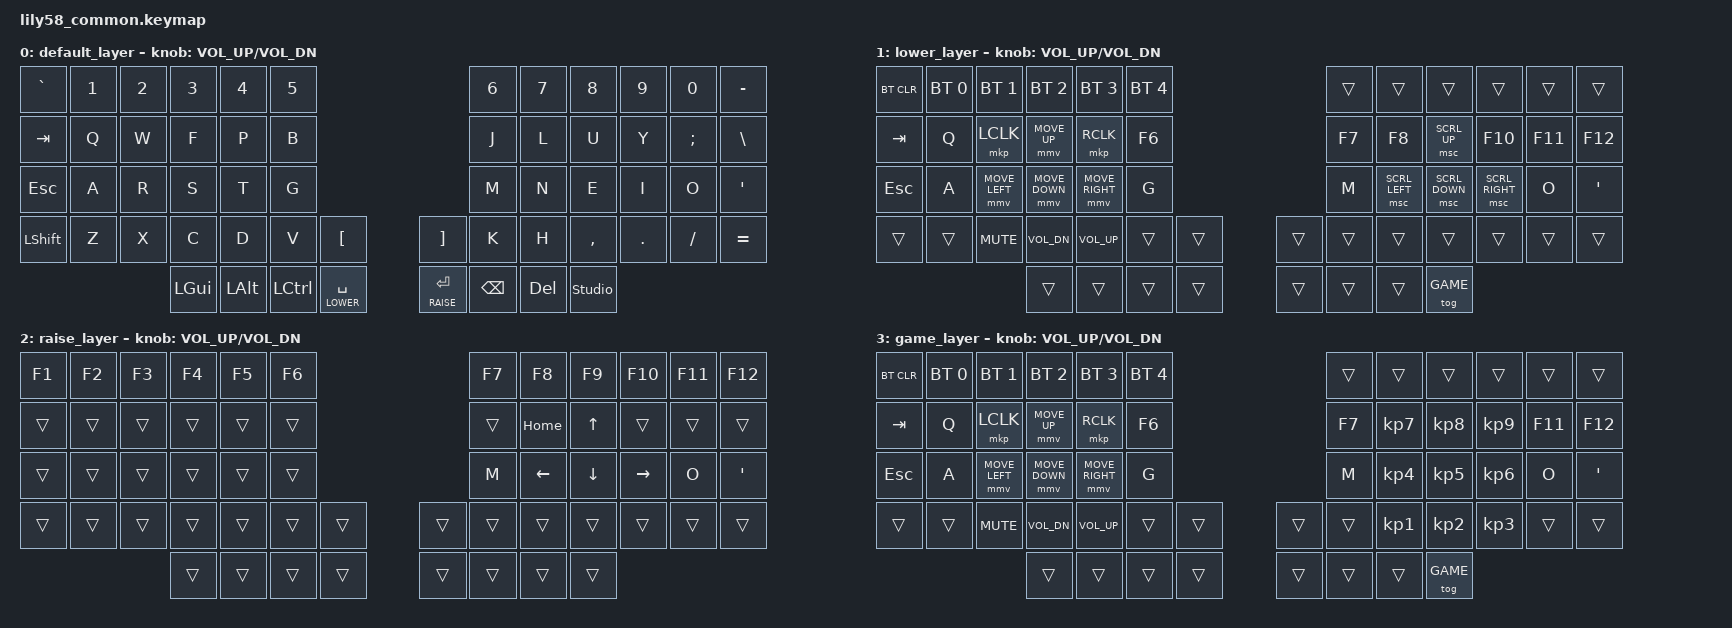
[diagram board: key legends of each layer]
/*
 * Copyright (c) 2020 The ZMK Contributors
 *
 * SPDX-License-Identifier: MIT
 */

#include <behaviors.dtsi>
#include <dt-bindings/zmk/keys.h>
#include <dt-bindings/zmk/bt.h>
#include <dt-bindings/zmk/ext_power.h>
#include <dt-bindings/zmk/mouse.h>


#define DEFAULT 0
#define LOWER   1
#define RAISE   2
#define GAME    3
/ {
    keymap {
        compatible = "zmk,keymap";

        default_layer {
// ------------------------------------------------------------------------------------------------------------
// |  ESC  |  1  |  2  |  3   |  4   |  5   |                   |  6   |  7    |  8    |  9   |   0   |   `   |
// |  TAB  |  Q  |  W  |  E   |  R   |  T   |                   |  Y   |  U    |  I    |  O   |   P   |   -   |
// |  CTRL |  A  |  S  |  D   |  F   |  G   |                   |  H   |  J    |  K    |  L   |   ;   |   '   |
// | SHIFT |  Z  |  X  |  C   |  V   |  B   |   "["  |  |  "]"  |  N   |  M    |  ,    |  .   |   /   | SHIFT |
//                     | ALT  | GUI  | LOWER|  SPACE |  | ENTER | RAISE| BSPC  | GUI   |
            bindings = <
&kp GRAVE &kp N1   &kp N2 &kp N3   &kp N4   &kp N5                                  &kp N6 &kp N7   &kp N8    &kp N9  &kp N0     &kp MINUS
&kp TAB   &kp Q  &kp W  &kp F    &kp P    &kp B                                     &kp J  &kp L    &kp U     &kp Y   &kp SEMI   &kp BSLH
&kp ESC   &kp A  &kp R  &kp S    &kp T    &kp G                                     &kp M  &kp N    &kp E     &kp I   &kp O      &kp SQT
&kp LSHFT &kp Z  &kp X  &kp C    &kp D    &kp V     &kp LBKT            &kp RBKT    &kp K  &kp H    &kp COMMA &kp DOT &kp FSLH   &kp EQUAL
                        &kp LGUI &kp LALT &kp LCTRL &lt LOWER SPACE  &lt RAISE RET  &kp BSPC &kp DEL &studio_unlock
            >;

            sensor-bindings = <&inc_dec_kp C_VOL_UP C_VOL_DN>;
        };

        lower_layer {
// ------------------------------------------------------------------------------------------------------------
// | BTCLR | BT1 | BT2 |  BT3 |  BT4 |  BT5 |                   |      |       |       |      |       |       |
// |  F1   |  F2 |  F3 |  F4  |  F5  |  F6  |                   |  F7  |  F8   |  F9   |  F10 |  F11  |  F12  |
// |   `   |  !  |  @  |  #   |  $   |  %   |                   |  ^   |  &    |  *    |  (   |   )   |   ~   |
// |       |     |     |      |      |      |        |  |       |      |  _    |  +    |  {   |   }   |  "|"  |
//                     |      |      |      |        |  |       |      |       |       |
            bindings = <
&bt BT_CLR &bt BT_SEL 0     &bt BT_SEL 1      &bt BT_SEL 2      &bt BT_SEL 3 &bt BT_SEL 4                 &trans    &trans    &trans    &trans    &trans    &trans
&kp TAB   &kp Q  &mkp LCLK  &mmv MOVE_UP  &mkp RCLK       &kp F6                                 &kp F7    &kp F8    &msc SCRL_UP    &kp F10   &kp F11   &kp F12
&kp ESC   &kp A  &mmv MOVE_LEFT &mmv MOVE_DOWN  &mmv MOVE_RIGHT &kp G                           &kp M  &msc SCRL_LEFT &msc SCRL_DOWN &msc SCRL_RIGHT   &kp O      &kp SQT
&trans &trans  &kp C_MUTE  &kp C_VOL_DN    &kp C_VOL_UP       &trans    &trans   &trans    &trans   &trans  &trans    &trans    &trans    &trans
                                              &trans            &trans       &trans    &trans   &trans    &trans    &trans    &tog GAME
            >;

            sensor-bindings = <&inc_dec_kp C_VOL_UP C_VOL_DN>;
        };

        raise_layer {
// ------------------------------------------------------------------------------------------------------------
// |       |     |     |      |      |      |                   |      |       |       |      |       |       |
// |   `   |  1  |  2  |  3   |  4   |  5   |                   |  6   |   7   |   8   |  9   |   0   |       |
// |   F1  |  F2 |  F3 |  F4  |  F5  |  F6  |                   |      |   <-  |   v   |  ^   |  ->   |       |
// |   F7  |  F8 |  F9 |  F10 |  F11 |  F12 |        |  |       |  +   |   -   |   =   |  [   |   ]   |   \   |
//                     |      |      |      |        |  |       |      |       |       |
            bindings = <
&kp F1    &kp F2 &kp F3 &kp F4  &kp F5  &kp F6                       &kp F7    &kp F8 &kp F9 &kp F10 &kp F11 &kp F12
&trans    &trans &trans &trans  &trans  &trans                       &trans      &kp HOME  &kp UP    &trans   &trans    &trans
&trans    &trans &trans &trans  &trans  &trans                       &kp M  &kp LEFT    &kp DOWN     &kp RIGHT   &kp O     &kp SQT
&trans    &trans &trans &trans  &trans  &trans    &trans   &trans    &trans    &trans &trans &trans  &trans  &trans
                        &trans  &trans  &trans    &trans   &trans    &trans      &trans    &trans
            >;

            sensor-bindings = <&inc_dec_kp C_VOL_UP C_VOL_DN>;
        };

        game_layer {
// ------------------------------------------------------------------------------------------------------------
// | BTCLR | BT1 | BT2 |  BT3 |  BT4 |  BT5 |                   |      |       |       |      |       |       |
// |  F1   |  F2 |  F3 |  F4  |  F5  |  F6  |                   |  F7  |  F8   |  F9   |  F10 |  F11  |  F12  |
// |   `   |  !  |  @  |  #   |  $   |  %   |                   |  ^   |  &    |  *    |  (   |   )   |   ~   |
// |       |     |     |      |      |      |        |  |       |      |  _    |  +    |  {   |   }   |  "|"  |
//                     |      |      |      |        |  |       |      |       |       |
            bindings = <
&bt BT_CLR &bt BT_SEL 0     &bt BT_SEL 1      &bt BT_SEL 2      &bt BT_SEL 3 &bt BT_SEL 4                 &trans    &trans    &trans    &trans    &trans    &trans
&kp TAB   &kp Q  &mkp LCLK  &mmv MOVE_UP  &mkp RCLK       &kp F6                                 &kp F7     &kp KP_N7   &kp KP_N8   &kp KP_N9   &kp F11   &kp F12
&kp ESC   &kp A  &mmv MOVE_LEFT &mmv MOVE_DOWN  &mmv MOVE_RIGHT &kp G                           &kp M       &kp KP_N4   &kp KP_N5   &kp KP_N6   &kp O      &kp SQT
&trans &trans  &kp C_MUTE  &kp C_VOL_DN    &kp C_VOL_UP       &trans    &trans   &trans    &trans           &kp KP_N1   &kp KP_N2   &kp KP_N3    &trans    &trans
                                              &trans            &trans       &trans    &trans   &trans    &trans    &trans    &tog GAME
            >;

            sensor-bindings = <&inc_dec_kp C_VOL_UP C_VOL_DN>;
        };
    };
};
